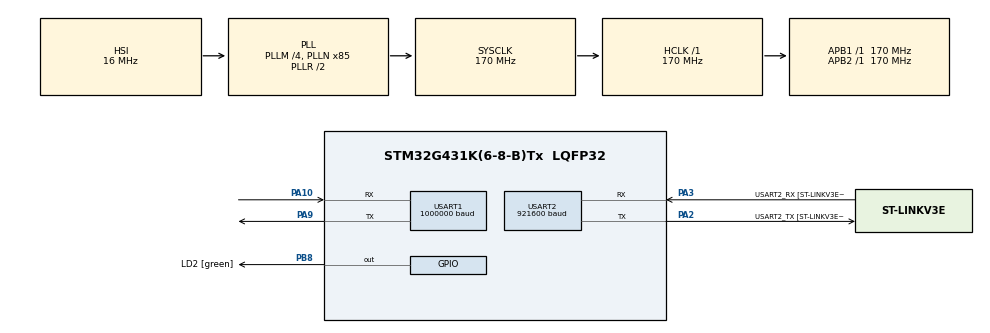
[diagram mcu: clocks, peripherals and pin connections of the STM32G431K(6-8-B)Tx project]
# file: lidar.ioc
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Dma.Request0=USART1_RX
Dma.USART1_RX.0.Direction=DMA_PERIPH_TO_MEMORY
Dma.USART1_RX.0.EventEnable=DISABLE
Dma.USART1_RX.0.Instance=DMA1_Channel1
Dma.USART1_RX.0.MemDataAlignment=DMA_MDATAALIGN_BYTE
Dma.USART1_RX.0.MemInc=DMA_MINC_ENABLE
Dma.USART1_RX.0.Mode=DMA_CIRCULAR
Dma.USART1_RX.0.PeriphDataAlignment=DMA_PDATAALIGN_BYTE
Dma.USART1_RX.0.PeriphInc=DMA_PINC_DISABLE
Dma.USART1_RX.0.Polarity=HAL_DMAMUX_REQ_GEN_RISING
Dma.USART1_RX.0.Priority=DMA_PRIORITY_HIGH
Dma.USART1_RX.0.RequestNumber=1
Dma.USART1_RX.0.SignalID=NONE
Dma.USART1_RX.0.SyncEnable=DISABLE
Dma.USART1_RX.0.SyncPolarity=HAL_DMAMUX_SYNC_NO_EVENT
Dma.USART1_RX.0.SyncRequestNumber=1
Dma.USART1_RX.0.SyncSignalID=NONE
Mcu.Family=STM32G4
Mcu.Name=STM32G431K(6-8-B)Tx
Mcu.Package=LQFP32
NVIC.DMA1_Channel1_IRQn=true\:0\:0\:false\:false\:true\:false\:true\:true
NVIC.PriorityGroup=NVIC_PRIORITYGROUP_4
NVIC.USART1_IRQn=true\:0\:0\:false\:false\:true\:true\:true\:true
NVIC.USART2_IRQn=true\:0\:0\:false\:false\:true\:true\:true\:true
PA10.Mode=Asynchronous
PA10.Signal=USART1_RX
PA13.GPIO_Label=T_SWDIO
PA13.Mode=Serial_Wire
PA13.Signal=SYS_JTMS-SWDIO
PA14.GPIO_Label=T_SWCLK
PA14.Mode=Serial_Wire
PA14.Signal=SYS_JTCK-SWCLK
PA2.GPIO_Label=USART2_TX [ST-LINKV3E_VCP_RX]
PA2.Mode=Asynchronous
PA2.Signal=USART2_TX
PA3.GPIO_Label=USART2_RX [ST-LINKV3E_VCP_TX]
PA3.Mode=Asynchronous
PA3.Signal=USART2_RX
PA9.Mode=Asynchronous
PA9.Signal=USART1_TX
PB3.GPIO_Label=T_SWO
PB3.Signal=SYS_JTDO-SWO
PB8-BOOT0.GPIO_Label=LD2 [green]
PB8-BOOT0.Signal=GPIO_Output
ProjectManager.HeapSize=0x200
ProjectManager.StackSize=0x400
ProjectManager.TargetToolchain=STM32CubeIDE
RCC.ADC12Freq_Value=170000000
RCC.AHBFreq_Value=170000000
RCC.APB1Freq_Value=170000000
RCC.APB1TimFreq_Value=170000000
RCC.APB2Freq_Value=170000000
RCC.APB2TimFreq_Value=170000000
RCC.CortexFreq_Value=170000000
RCC.EXTERNAL_CLOCK_VALUE=12288000
RCC.HCLKFreq_Value=170000000
RCC.HSE_VALUE=8000000
RCC.HSI48_VALUE=48000000
RCC.HSI_VALUE=16000000
RCC.LSE_VALUE=32768
RCC.PLLM=RCC_PLLM_DIV4
RCC.PLLN=85
RCC.SYSCLKFreq_VALUE=170000000
RCC.SYSCLKSource=RCC_SYSCLKSOURCE_PLLCLK
RCC.USBFreq_Value=170000000
RCC.VCOOutputFreq_Value=340000000
USART1.BaudRate=1000000
USART1.OverrunDisableParam=ADVFEATURE_OVERRUN_ENABLE
USART1.SwapParam=ADVFEATURE_SWAP_ENABLE
USART1.VirtualMode-Asynchronous=VM_ASYNC
USART2.BaudRate=921600
USART2.VirtualMode-Asynchronous=VM_ASYNC
USART2.WordLength=WORDLENGTH_8B
VP_SYS_VS_DBSignals.Mode=DisableDeadBatterySignals
board=NUCLEO-G431KB

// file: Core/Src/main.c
/* USER CODE BEGIN Header */
/**
  ******************************************************************************
  * @file           : main.c
  * @brief          : Main program body
  ******************************************************************************
  * @attention
  *
  * Copyright (c) 2024 STMicroelectronics.
  * All rights reserved.
  *
  * This software is licensed under terms that can be found in the LICENSE file
  * in the root directory of this software component.
  * If no LICENSE file comes with this software, it is provided AS-IS.
  *
  ******************************************************************************
  */
/* USER CODE END Header */
#include "main.h"

/* USER CODE BEGIN Includes */
#include <string.h>
#include <stdio.h>
#include <stdbool.h>
#include <buffer.h>
/* USER CODE END Includes */

/* USER CODE BEGIN PD */
#define LIDAR_HUART huart1
#define PC_HUART huart2
//#define DO_TESTS 1
/* USER CODE END PD */

UART_HandleTypeDef huart1;
UART_HandleTypeDef huart2;
DMA_HandleTypeDef hdma_usart1_rx;

/* USER CODE BEGIN PV */
uint8_t flag_reception_uart2 = 0;
/* USER CODE END PV */

void SystemClock_Config(void);
static void MX_GPIO_Init(void);
static void MX_DMA_Init(void);
static void MX_USART2_UART_Init(void);
static void MX_USART1_UART_Init(void);

/* USER CODE BEGIN 0 */
#define PUTCHAR_PROTOTYPE int __io_putchar(int ch)
PUTCHAR_PROTOTYPE
{
	HAL_UART_Transmit(&huart2, (uint8_t*)&ch, 1, HAL_MAX_DELAY);

	return ch;
}

uint8_t caractere;
/* USER CODE END 0 */

int main(void)
{

  /* MCU Configuration--------------------------------------------------------*/

  /* Reset of all peripherals, Initializes the Flash interface and the Systick. */
  HAL_Init();

  /* Configure the system clock */
  SystemClock_Config();

  /* Initialize all configured peripherals */
  MX_GPIO_Init();
  MX_DMA_Init();
  MX_USART2_UART_Init();
  MX_USART1_UART_Init();
  /* USER CODE BEGIN 2 */
  printf("Programme interface LIDAR\n");
  printf("Compile le %s\n", __DATE__);

  init_data_lidar_mm_main();

  command_lidar_t command_requested = LIDAR_UNKNOWN_COMMAND;

  int i = 0;
  char message[40] = "";

  HAL_UART_Receive_DMA(&LIDAR_HUART, buffer, BUFFER_SIZE);
  HAL_UART_Receive_IT(&PC_HUART, &caractere, 1); // A laisser proche de la boucle while(1)
  /* USER CODE END 2 */

  /* Infinite loop */
  /* USER CODE BEGIN WHILE */
  while (1)
  {

	  if (flag_reception_uart2 == 1) {
	  		  if (caractere == '\n') {
	  			  if (strstr(message, "START_SCAN") != NULL)
	  			  {
	  				command_requested = LIDAR_START_SCAN;
	  				printf("Demarrage du scan normal\n");
	  				init_data_lidar_mm_main();
	  				HAL_UART_Transmit(&LIDAR_HUART, LIDAR_COMMAND_START_SCAN, LIDAR_COMMAND_START_SCAN_LEN, HAL_MAX_DELAY);
	  			  } else if (strstr(message, "STOP") != NULL)
	  			  {
	  				command_requested = LIDAR_STOP;
	  				printf("Arret\n");
	  				HAL_UART_Transmit(&LIDAR_HUART, LIDAR_COMMAND_STOP, LIDAR_COMMAND_STOP_LEN, HAL_MAX_DELAY);
	  				init_data_lidar_mm_main();
	  			  } else if (strstr(message, "RESET") != NULL)
	  			  {
	  				command_requested = LIDAR_RESET;
	  				printf("Reset\n");
	  				HAL_UART_Transmit(&LIDAR_HUART, LIDAR_COMMAND_RESET, LIDAR_COMMAND_RESET_LEN, HAL_MAX_DELAY);
	  				init_data_lidar_mm_main();
	  			  } else if (strstr(message, "GET_INFO") != NULL)
	  			  {
	  				printf("RTFM ! <*_*>\n");
	  				HAL_UART_Transmit(&LIDAR_HUART, LIDAR_COMMAND_GET_INFO, LIDAR_COMMAND_GET_INFO_LEN, HAL_MAX_DELAY);
	  			  } else if (strstr(message, "GET_HEALTH") != NULL)
	  			  {
	  				command_requested = LIDAR_GET_HEALTH;
	  				printf("GET_HEALTH\n");
	  				HAL_UART_Transmit(&LIDAR_HUART, LIDAR_COMMAND_GET_HEALTH, LIDAR_COMMAND_GET_HEALTH_LEN, HAL_MAX_DELAY);
	  			  } else {
	  				  command_requested = LIDAR_UNKNOWN_COMMAND;
	  				  printf("Commande non reconnue : %s\n", message);
	  			  }

	  			  message[0] = '\0';
	  			  i = 0;
	  		  }

	  		  message[i++] = caractere;
	  		  flag_reception_uart2 = 0;

	  		  HAL_UART_Receive_IT(&PC_HUART, &caractere, 1);
	  	  }

		  uint8_t receivedByte = 0;

		  if (dequeue(&receivedByte))
		  {
			  switch (command_requested) {
				case LIDAR_START_SCAN:
					automate_scan_decode(receivedByte);
					break;
				case LIDAR_GET_HEALTH:
					automate_health_decode(receivedByte);
					break;
			}
		  }
    /* USER CODE END WHILE */

  }
}

void SystemClock_Config(void)
{
  RCC_OscInitTypeDef RCC_OscInitStruct = {0};
  RCC_ClkInitTypeDef RCC_ClkInitStruct = {0};

  /** Configure the main internal regulator output voltage
  */
  HAL_PWREx_ControlVoltageScaling(PWR_REGULATOR_VOLTAGE_SCALE1_BOOST);

  /** Initializes the RCC Oscillators according to the specified parameters
  * in the RCC_OscInitTypeDef structure.
  */
  RCC_OscInitStruct.OscillatorType = RCC_OSCILLATORTYPE_HSI;
  RCC_OscInitStruct.HSIState = RCC_HSI_ON;
  RCC_OscInitStruct.HSICalibrationValue = RCC_HSICALIBRATION_DEFAULT;
  RCC_OscInitStruct.PLL.PLLState = RCC_PLL_ON;
  RCC_OscInitStruct.PLL.PLLSource = RCC_PLLSOURCE_HSI;
  RCC_OscInitStruct.PLL.PLLM = RCC_PLLM_DIV4;
  RCC_OscInitStruct.PLL.PLLN = 85;
  RCC_OscInitStruct.PLL.PLLP = RCC_PLLP_DIV2;
  RCC_OscInitStruct.PLL.PLLQ = RCC_PLLQ_DIV2;
  RCC_OscInitStruct.PLL.PLLR = RCC_PLLR_DIV2;
  if (HAL_RCC_OscConfig(&RCC_OscInitStruct) != HAL_OK)
  {
    Error_Handler();
  }

  /** Initializes the CPU, AHB and APB buses clocks
  */
  RCC_ClkInitStruct.ClockType = RCC_CLOCKTYPE_HCLK|RCC_CLOCKTYPE_SYSCLK
                              |RCC_CLOCKTYPE_PCLK1|RCC_CLOCKTYPE_PCLK2;
  RCC_ClkInitStruct.SYSCLKSource = RCC_SYSCLKSOURCE_PLLCLK;
  RCC_ClkInitStruct.AHBCLKDivider = RCC_SYSCLK_DIV1;
  RCC_ClkInitStruct.APB1CLKDivider = RCC_HCLK_DIV1;
  RCC_ClkInitStruct.APB2CLKDivider = RCC_HCLK_DIV1;

  if (HAL_RCC_ClockConfig(&RCC_ClkInitStruct, FLASH_LATENCY_4) != HAL_OK)
  {
    Error_Handler();
  }
}

static void MX_USART1_UART_Init(void)
{

  huart1.Instance = USART1;
  huart1.Init.BaudRate = 1000000;
  huart1.Init.WordLength = UART_WORDLENGTH_8B;
  huart1.Init.StopBits = UART_STOPBITS_1;
  huart1.Init.Parity = UART_PARITY_NONE;
  huart1.Init.Mode = UART_MODE_TX_RX;
  huart1.Init.HwFlowCtl = UART_HWCONTROL_NONE;
  huart1.Init.OverSampling = UART_OVERSAMPLING_16;
  huart1.Init.OneBitSampling = UART_ONE_BIT_SAMPLE_DISABLE;
  huart1.Init.ClockPrescaler = UART_PRESCALER_DIV1;
  huart1.AdvancedInit.AdvFeatureInit = UART_ADVFEATURE_NO_INIT;
  if (HAL_UART_Init(&huart1) != HAL_OK)
  {
    Error_Handler();
  }
  if (HAL_UARTEx_SetTxFifoThreshold(&huart1, UART_TXFIFO_THRESHOLD_1_8) != HAL_OK)
  {
    Error_Handler();
  }
  if (HAL_UARTEx_SetRxFifoThreshold(&huart1, UART_RXFIFO_THRESHOLD_1_8) != HAL_OK)
  {
    Error_Handler();
  }
  if (HAL_UARTEx_DisableFifoMode(&huart1) != HAL_OK)
  {
    Error_Handler();
  }

}

static void MX_USART2_UART_Init(void)
{

  huart2.Instance = USART2;
  huart2.Init.BaudRate = 1000000;
  huart2.Init.WordLength = UART_WORDLENGTH_8B;
  huart2.Init.StopBits = UART_STOPBITS_1;
  huart2.Init.Parity = UART_PARITY_NONE;
  huart2.Init.Mode = UART_MODE_TX_RX;
  huart2.Init.HwFlowCtl = UART_HWCONTROL_NONE;
  huart2.Init.OverSampling = UART_OVERSAMPLING_16;
  huart2.Init.OneBitSampling = UART_ONE_BIT_SAMPLE_DISABLE;
  huart2.Init.ClockPrescaler = UART_PRESCALER_DIV1;
  huart2.AdvancedInit.AdvFeatureInit = UART_ADVFEATURE_NO_INIT;
  if (HAL_UART_Init(&huart2) != HAL_OK)
  {
    Error_Handler();
  }
  if (HAL_UARTEx_SetTxFifoThreshold(&huart2, UART_TXFIFO_THRESHOLD_1_8) != HAL_OK)
  {
    Error_Handler();
  }
  if (HAL_UARTEx_SetRxFifoThreshold(&huart2, UART_RXFIFO_THRESHOLD_1_8) != HAL_OK)
  {
    Error_Handler();
  }
  if (HAL_UARTEx_DisableFifoMode(&huart2) != HAL_OK)
  {
    Error_Handler();
  }

}

static void MX_DMA_Init(void)
{

  /* DMA controller clock enable */
  __HAL_RCC_DMAMUX1_CLK_ENABLE();
  __HAL_RCC_DMA1_CLK_ENABLE();

  /* DMA interrupt init */
  /* DMA1_Channel1_IRQn interrupt configuration */
  HAL_NVIC_SetPriority(DMA1_Channel1_IRQn, 0, 0);
  HAL_NVIC_EnableIRQ(DMA1_Channel1_IRQn);

}

static void MX_GPIO_Init(void)
{
  GPIO_InitTypeDef GPIO_InitStruct = {0};

  /* GPIO Ports Clock Enable */
  __HAL_RCC_GPIOA_CLK_ENABLE();
  __HAL_RCC_GPIOB_CLK_ENABLE();

  /*Configure GPIO pin Output Level */
  HAL_GPIO_WritePin(LD2_GPIO_Port, LD2_Pin, GPIO_PIN_RESET);

  /*Configure GPIO pin : LD2_Pin */
  GPIO_InitStruct.Pin = LD2_Pin;
  GPIO_InitStruct.Mode = GPIO_MODE_OUTPUT_PP;
  GPIO_InitStruct.Pull = GPIO_NOPULL;
  GPIO_InitStruct.Speed = GPIO_SPEED_FREQ_LOW;
  HAL_GPIO_Init(LD2_GPIO_Port, &GPIO_InitStruct);

}

/* USER CODE BEGIN 4 */
void HAL_UART_RxCpltCallback(UART_HandleTypeDef *huart)
{
	if (huart->Instance == USART2) {
		flag_reception_uart2 = 1;
		/*
		 * Relancer la réception dans l'interruption
	     */
		HAL_UART_Receive_IT(&PC_HUART, &caractere, 1);
	}

	if (huart->Instance == USART1) {
		HAL_UART_Receive_DMA(&LIDAR_HUART, buffer, BUFFER_SIZE);
	}
}
/* USER CODE END 4 */

void Error_Handler(void)
{
  __disable_irq();
  while (1)
  {
  }
}
